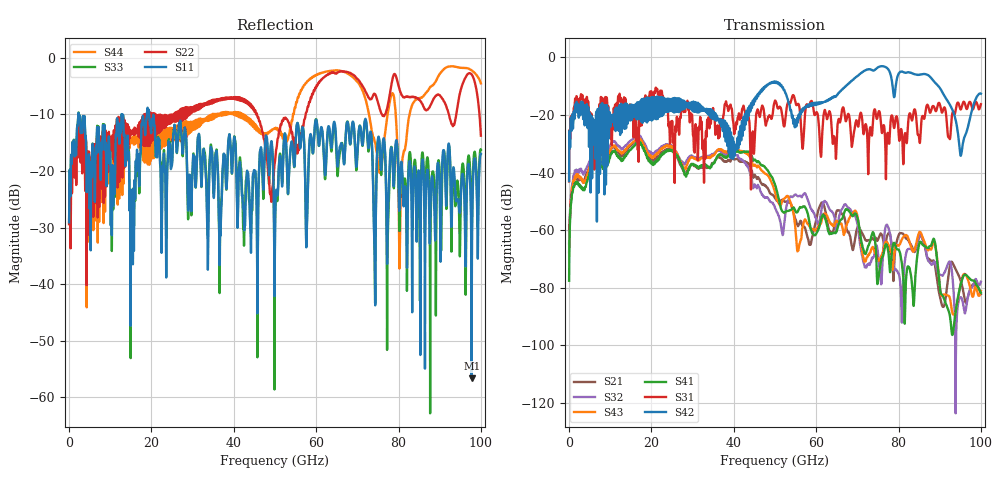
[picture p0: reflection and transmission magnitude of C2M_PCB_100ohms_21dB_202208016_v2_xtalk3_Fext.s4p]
! Info: Touchstone file created by Circ.  Input file=Intel_C2M_200G_8p0in_202208016_staggered.circ
# Hz S RI R 50
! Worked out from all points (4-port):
!   10000 points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, 10 MHz to 100 GHz, reference 50 ohm
!   strongest paths, dB at 10 MHz, 25.01 GHz, 50.01 GHz, 75.01 GHz, 100 GHz:
!     S42: -42.9, -15.0, -8.3, -3.4, -12.6
!     S31: -43.1, -22.2, -15.0, -19.6, -16.2
!     S41: -77.6, -32.3, -44.3, -77.8, -81.8
!     S43: -67.7, -31.3, -46.9, -70.3, -81.1
!     S32: -64.6, -31.1, -52.4, -68.0, -78.0
!     S21: -60.5, -32.3, -49.0, -63.3, -82.2
!   lowest |S11| = -56.6 dB at 97.76 GHz (marker M1), VSWR 1.00, Z = 50.1 - j0.0534 ohm
!   |S11| at or under -10 dB: 2.353 GHz to 12.76 GHz (10.41 GHz wide, 138 % of centre); 12.81 GHz to 18.92 GHz (6.108 GHz wide, 38.5 % of centre); 19.45 GHz to end of sweep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
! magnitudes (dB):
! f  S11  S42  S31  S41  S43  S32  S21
! 10 MHz  -29.1  -42.9  -43.1  -77.6  -67.7  -64.6  -60.5
! 1.43 GHz  -16.9  -17.0  -14.8  -43.6  -41.4  -39.2  -41.8
! 16.91 GHz  -19.0  -15.6  -33.3  -29.3  -28.0  -27.0  -28.4
! 66.26 GHz  -15.2  -11.2  -18.3  -56.2  -58.6  -52.7  -54.5
! 80.35 GHz  -22.2  -5.0  -27.2  -67.9  -64.9  -77.4  -61.1
! 97.76 GHz  -56.6  -18.7  -17.0  -77.5  -82.3  -80.1  -79.5
! 100 GHz  -16.9  -12.6  -16.2  -81.8  -81.1  -78.0  -82.2
